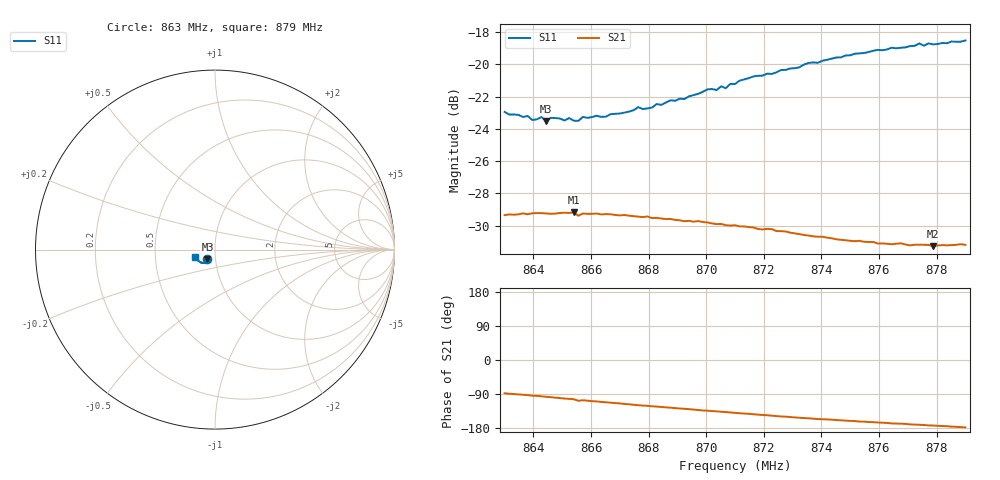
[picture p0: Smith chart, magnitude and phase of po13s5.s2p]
# HZ S RI R 50
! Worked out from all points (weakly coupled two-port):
!   101 points, 863 MHz to 879 MHz, reference 50 ohm
!   highest |S21| = -29.18 dB at 865.4 MHz (marker M1); lowest = -31.3 dB at 877.88 MHz (marker M2)
!   lowest |S11| = -23.5 dB at 864.44 MHz (marker M3), VSWR 1.14, Z = 45.7 - j4.76 ohm
!   |S11| at or under -10 dB: start of sweep to end of sweep
!   S12 and S22 are empty: the file has one direction only
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8.63e8  -0.0454 -0.0548  0.0013 -0.0341  0 0  0 0
8.638e8  -0.0415 -0.0553  -0.00161 -0.0343  0 0  0 0
8.6396e8  -0.0397 -0.0542  -0.00248 -0.0344  0 0  0 0
8.6428e8  -0.0384 -0.0569  -0.0035 -0.0344  0 0  0 0
8.6444e8  -0.042 -0.0518  -0.00426 -0.0342  0 0  0 0
8.646e8  -0.039 -0.0559  -0.00486 -0.0341  0 0  0 0
8.654e8  -0.0354 -0.0568  -0.0081 -0.0338  0 0  0 0
8.6556e8  -0.0359 -0.0563  -0.0103 -0.0323  0 0  0 0
8.6572e8  -0.0361 -0.0584  -0.00955 -0.0331  0 0  0 0
8.6652e8  -0.0347 -0.0594  -0.0126 -0.0319  0 0  0 0
8.6764e8  -0.0372 -0.0636  -0.0165 -0.0294  0 0  0 0
8.678e8  -0.0364 -0.0628  -0.0169 -0.029  0 0  0 0
8.6844e8  -0.0364 -0.0654  -0.0186 -0.0276  0 0  0 0
8.7004e8  -0.0429 -0.0717  -0.0224 -0.0234  0 0  0 0
8.7036e8  -0.0439 -0.0707  -0.0228 -0.0224  0 0  0 0
8.7052e8  -0.0455 -0.0723  -0.0233 -0.022  0 0  0 0
8.71e8  -0.0475 -0.0727  -0.0241 -0.0206  0 0  0 0
8.7164e8  -0.0512 -0.076  -0.025 -0.0187  0 0  0 0
8.7372e8  -0.0677 -0.0753  -0.0265 -0.0124  0 0  0 0
8.7644e8  -0.0937 -0.0622  -0.027 -0.00604  0 0  0 0
8.7788e8  -0.1036 -0.0505  -0.0271 -0.00341  0 0  0 0
8.79e8  -0.1115 -0.0402  -0.0276 -0.00104  0 0  0 0
